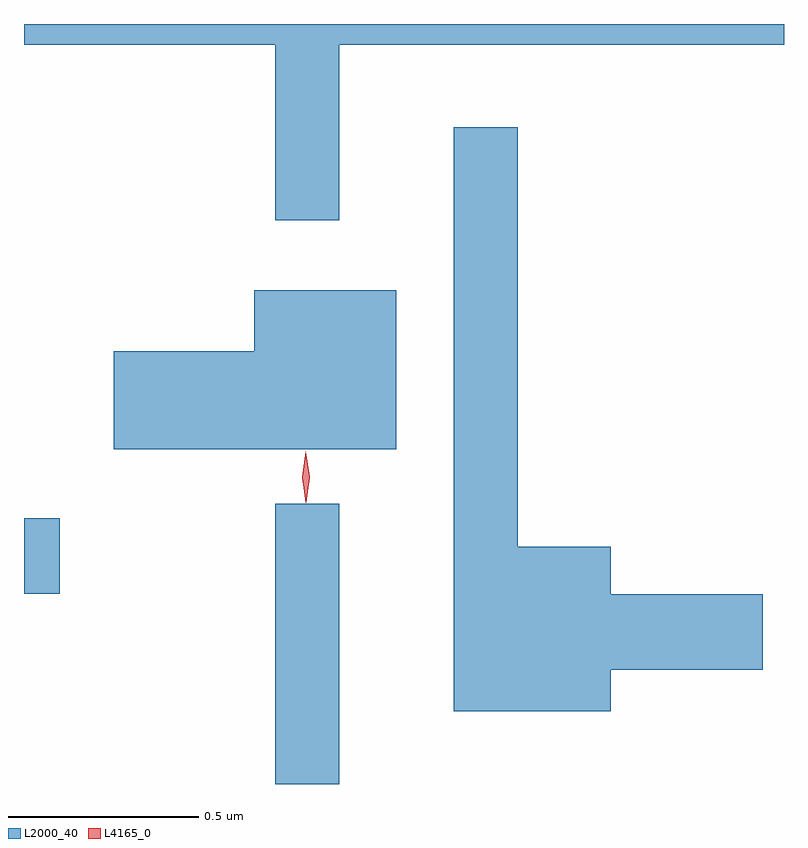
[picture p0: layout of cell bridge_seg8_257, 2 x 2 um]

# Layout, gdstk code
import gdstk
lib = gdstk.Library(unit=1e-6, precision=1e-09)
def R(c, l, rs):  # rectangles x0, y0, x1, y1
    for r in rs: c.add(gdstk.rectangle(r[:2], r[2:], *l))
def P(c, l, *ps):  # polygons
    for p in ps: c.add(gdstk.Polygon(p, *l))
L2000_40 = (2000, 40)
L4165_0 = (4165, 0)

bridge_seg8_257 = lib.new_cell('bridge_seg8_257')
R(bridge_seg8_257, L2000_40, [(1110.751,1821.15,1110.919,1821.888), (1110.09,1821.651,1110.184,1821.849)])
P(bridge_seg8_257, L2000_40, [(1110.919,1823.096),(1112.09,1823.096),(1112.09,1823.15),(1110.09,1823.15),(1110.09,1823.096),(1110.751,1823.096),(1110.751,1822.633),(1110.919,1822.633)],
  [(1111.634,1821.451),(1112.034,1821.451),(1112.034,1821.649),(1111.634,1821.649),(1111.634,1821.774),(1111.389,1821.774),(1111.389,1822.878),(1111.221,1822.878),(1111.221,1821.341),(1111.634,1821.341)],
  [(1111.069,1822.449),(1110.696,1822.449),(1110.696,1822.289),(1110.326,1822.289),(1110.326,1822.031),(1111.069,1822.031)])
P(bridge_seg8_257, L4165_0, [(1110.832,1821.89),(1110.832,1821.89),(1110.822,1821.958),(1110.831,1822.025),(1110.832,1822.026),(1110.832,1822.025),(1110.842,1821.958),(1110.833,1821.89)],
  [(1110.832,1821.893),(1110.832,1821.894),(1110.822,1821.956),(1110.831,1822.019),(1110.832,1822.02),(1110.832,1822.019),(1110.842,1821.956),(1110.833,1821.894)])

lib.write_gds('bridge_seg8_257.gds')
